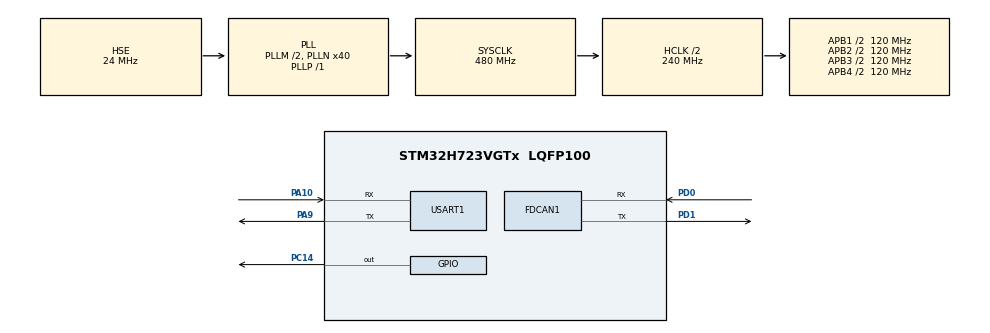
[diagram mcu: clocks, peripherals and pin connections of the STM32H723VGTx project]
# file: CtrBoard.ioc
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CORTEX_M7.CPU_DCache=Disabled
CORTEX_M7.CPU_ICache=Disabled
FDCAN1.AutoRetransmission=ENABLE
FDCAN1.CalculateBaudRateNominal=1000000
FDCAN1.CalculateTimeBitNominal=1000
FDCAN1.CalculateTimeQuantumNominal=100.0
FDCAN1.DataPrescaler=2
FDCAN1.DataSyncJumpWidth=4
FDCAN1.DataTimeSeg1=5
FDCAN1.DataTimeSeg2=4
FDCAN1.ExtFiltersNbr=4
FDCAN1.FrameFormat=FDCAN_FRAME_FD_BRS
FDCAN1.NominalPrescaler=2
FDCAN1.NominalSyncJumpWidth=4
FDCAN1.NominalTimeSeg1=5
FDCAN1.NominalTimeSeg2=4
FDCAN1.ProtocolException=ENABLE
FDCAN1.RxBuffersNbr=2
FDCAN1.RxFifo0ElmtsNbr=3
FDCAN1.RxFifo1ElmtsNbr=3
FDCAN1.StdFiltersNbr=4
FDCAN1.TxBuffersNbr=8
FDCAN1.TxEventsNbr=16
FDCAN1.TxFifoQueueElmtsNbr=8
Mcu.Family=STM32H7
Mcu.Name=STM32H723VGTx
Mcu.Package=LQFP100
NVIC.FDCAN1_IT0_IRQn=true\:0\:0\:false\:false\:true\:true\:true\:true
NVIC.FDCAN1_IT1_IRQn=true\:0\:0\:false\:false\:true\:true\:true\:true
NVIC.PriorityGroup=NVIC_PRIORITYGROUP_4
NVIC.TIM3_IRQn=true\:0\:0\:false\:false\:true\:true\:true\:true
NVIC.TIM4_IRQn=true\:0\:0\:false\:false\:true\:true\:true\:true
PA10.Mode=Asynchronous
PA10.Signal=USART1_RX
PA13(JTMS/SWDIO).Mode=Serial_Wire
PA13(JTMS/SWDIO).Signal=DEBUG_JTMS-SWDIO
PA14(JTCK/SWCLK).Mode=Serial_Wire
PA14(JTCK/SWCLK).Signal=DEBUG_JTCK-SWCLK
PA9.Mode=Asynchronous
PA9.Signal=USART1_TX
PC14-OSC32_IN.Signal=GPIO_Output
PD0.Mode=FDCAN_Activate
PD0.Signal=FDCAN1_RX
PD1.Mode=FDCAN_Activate
PD1.Signal=FDCAN1_TX
PH0-OSC_IN.Mode=HSE-External-Oscillator
PH0-OSC_IN.Signal=RCC_OSC_IN
PH1-OSC_OUT.Mode=HSE-External-Oscillator
PH1-OSC_OUT.Signal=RCC_OSC_OUT
ProjectManager.HeapSize=0x2000
ProjectManager.StackSize=0x400
ProjectManager.TargetToolchain=MDK-ARM V5.32
RCC.ADCFreq_Value=48375000
RCC.APB1Freq_Value=120000000
RCC.APB2Freq_Value=120000000
RCC.APB3Freq_Value=120000000
RCC.APB4Freq_Value=120000000
RCC.CortexFreq_Value=480000000
RCC.D1PPRE=RCC_APB3_DIV2
RCC.D2PPRE1=RCC_APB1_DIV2
RCC.D2PPRE2=RCC_APB2_DIV2
RCC.D3PPRE=RCC_APB4_DIV2
RCC.DIVM1=2
RCC.DIVN1=40
RCC.DIVP1=1
RCC.DIVQ1=24
RCC.HCLKFreq_Value=240000000
RCC.HPRE=RCC_HCLK_DIV2
RCC.HSE_VALUE=24000000
RCC.PLLFRACN=0
RCC.PLLSourceVirtual=RCC_PLLSOURCE_HSE
RCC.RCC_MCO1Source=RCC_MCO1SOURCE_HSE
RCC.SYSCLKFreq_VALUE=480000000
RCC.SYSCLKSource=RCC_SYSCLKSOURCE_PLLCLK
RCC.USBCLockSelection=RCC_USBCLKSOURCE_HSI48
RCC.USBFreq_Value=48000000
TIM3.Period=1000-1
TIM3.Prescaler=240-1
TIM4.Period=1000-1
TIM4.Prescaler=240-1
USART1.VirtualMode-Asynchronous=VM_ASYNC
VP_TIM3_VS_ClockSourceINT.Mode=Internal
VP_TIM4_VS_ClockSourceINT.Mode=Internal
board=custom

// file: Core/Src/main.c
/* USER CODE BEGIN Header */
/**
  ******************************************************************************
  * @file           : main.c
  * @brief          : Main program body
  ******************************************************************************
  * @attention
  *
  * Copyright (c) 2024 STMicroelectronics.
  * All rights reserved.
  *
  * This software is licensed under terms that can be found in the LICENSE file
  * in the root directory of this software component.
  * If no LICENSE file comes with this software, it is provided AS-IS.
  *
  ******************************************************************************
  */
/* USER CODE END Header */
#include "main.h"
#include "fdcan.h"
#include "tim.h"
#include "usart.h"
#include "gpio.h"

/* USER CODE BEGIN Includes */
#include "co_app.h"
#include "co_bsp.h"
#include "301/CO_SDOclient.h"
#include "OD.h"
#include "fdcan.h"
#include "tim.h"
#include "delay.h"
#include "stdio.h"
#include "dm4310_drv.h"
/* USER CODE END Includes */

void SystemClock_Config(void);

int main(void)
{
  /* USER CODE BEGIN 1 */
	uint32_t time,time1;
  /* USER CODE END 1 */

  /* MCU Configuration--------------------------------------------------------*/

  /* Reset of all peripherals, Initializes the Flash interface and the Systick. */
  HAL_Init();

  /* Configure the system clock */
  SystemClock_Config();

  /* Initialize all configured peripherals */
  MX_GPIO_Init();
  MX_FDCAN1_Init();
  MX_TIM3_Init();
  MX_USART1_UART_Init();
  MX_TIM4_Init();
  /* USER CODE BEGIN 2 */
	canopen_init();
	delay_ms(200);
	power(1);
	HAL_Delay(1000);
	dm4310_enable(&motor[M1]);
	dm4310_enable(&motor[M2]);
	dm4310_enable(&motor[M3]);
	dm4310_enable(&motor[M4]);
//	dm4310_disable(&motor[M1]);
//	dm4310_setub(&motor[M1]);
//	dm4310_clear_err(&motor[M1]);
//	save_pos_zero(&motor[M1]);
//	write_htime(&motor[M1], 1200);
//	write_currbw(&motor[M1], 1200);
//	write_velpi(&motor[M1], 0.002f, 0.002f, 6);
//	write_pospi(&motor[M1], 100, 0.002f);
//	write_limit(&motor[M1], 10.002f, 10.002f, 15);
//	write_oc(&motor[M1], 0.5);
//	write_ov(&motor[M1], 28);
//	write_uv(&motor[M1], 18);
//	write_ot(&motor[M1], 50.5);
//	write_vel(&motor[M1], 300, 5, -5);
//	write_tpdo(&motor[M1], 2, 0);

//	HAL_Delay(1000);
//	dm4310_save_para(&motor[M1]);
  /* USER CODE END 2 */

  /* Infinite loop */
  /* USER CODE BEGIN WHILE */
  while (1)
  {
	canopen_app_process();
    /* USER CODE END WHILE */

  }
}

void SystemClock_Config(void)
{
  RCC_OscInitTypeDef RCC_OscInitStruct = {0};
  RCC_ClkInitTypeDef RCC_ClkInitStruct = {0};

  /** Supply configuration update enable
  */
  HAL_PWREx_ConfigSupply(PWR_LDO_SUPPLY);

  /** Configure the main internal regulator output voltage
  */
  __HAL_PWR_VOLTAGESCALING_CONFIG(PWR_REGULATOR_VOLTAGE_SCALE0);

  while(!__HAL_PWR_GET_FLAG(PWR_FLAG_VOSRDY)) {}

  /** Initializes the RCC Oscillators according to the specified parameters
  * in the RCC_OscInitTypeDef structure.
  */
  RCC_OscInitStruct.OscillatorType = RCC_OSCILLATORTYPE_HSE;
  RCC_OscInitStruct.HSEState = RCC_HSE_ON;
  RCC_OscInitStruct.PLL.PLLState = RCC_PLL_ON;
  RCC_OscInitStruct.PLL.PLLSource = RCC_PLLSOURCE_HSE;
  RCC_OscInitStruct.PLL.PLLM = 2;
  RCC_OscInitStruct.PLL.PLLN = 40;
  RCC_OscInitStruct.PLL.PLLP = 1;
  RCC_OscInitStruct.PLL.PLLQ = 24;
  RCC_OscInitStruct.PLL.PLLR = 2;
  RCC_OscInitStruct.PLL.PLLRGE = RCC_PLL1VCIRANGE_3;
  RCC_OscInitStruct.PLL.PLLVCOSEL = RCC_PLL1VCOWIDE;
  RCC_OscInitStruct.PLL.PLLFRACN = 0;
  if (HAL_RCC_OscConfig(&RCC_OscInitStruct) != HAL_OK)
  {
    Error_Handler();
  }

  /** Initializes the CPU, AHB and APB buses clocks
  */
  RCC_ClkInitStruct.ClockType = RCC_CLOCKTYPE_HCLK|RCC_CLOCKTYPE_SYSCLK
                              |RCC_CLOCKTYPE_PCLK1|RCC_CLOCKTYPE_PCLK2
                              |RCC_CLOCKTYPE_D3PCLK1|RCC_CLOCKTYPE_D1PCLK1;
  RCC_ClkInitStruct.SYSCLKSource = RCC_SYSCLKSOURCE_PLLCLK;
  RCC_ClkInitStruct.SYSCLKDivider = RCC_SYSCLK_DIV1;
  RCC_ClkInitStruct.AHBCLKDivider = RCC_HCLK_DIV2;
  RCC_ClkInitStruct.APB3CLKDivider = RCC_APB3_DIV2;
  RCC_ClkInitStruct.APB1CLKDivider = RCC_APB1_DIV2;
  RCC_ClkInitStruct.APB2CLKDivider = RCC_APB2_DIV2;
  RCC_ClkInitStruct.APB4CLKDivider = RCC_APB4_DIV2;

  if (HAL_RCC_ClockConfig(&RCC_ClkInitStruct, FLASH_LATENCY_3) != HAL_OK)
  {
    Error_Handler();
  }
}

void Error_Handler(void)
{
  __disable_irq();
  while (1)
  {
  }
}
